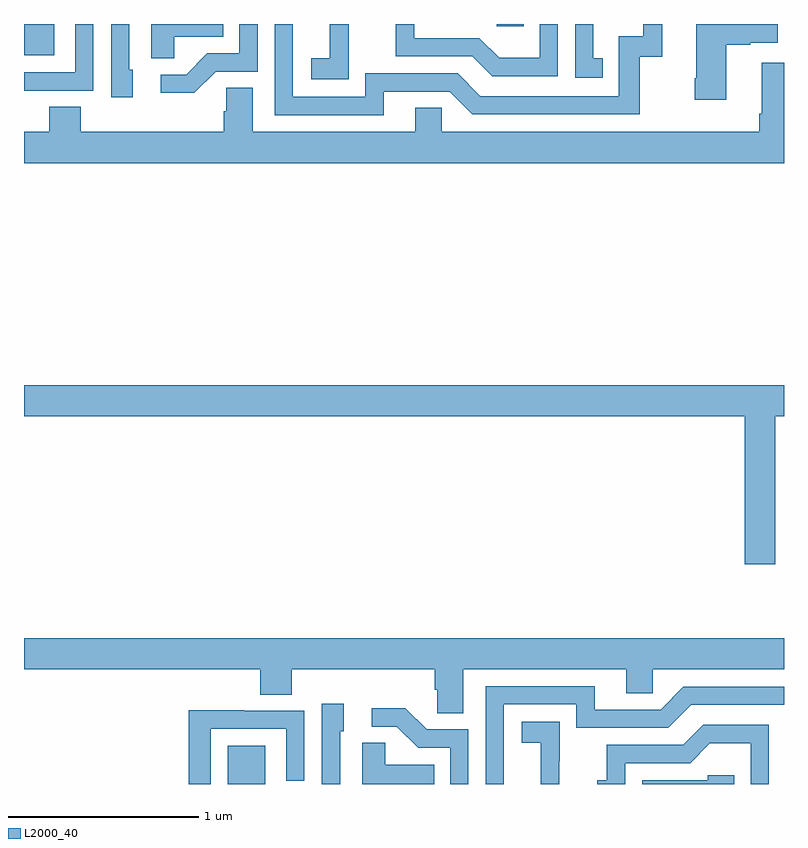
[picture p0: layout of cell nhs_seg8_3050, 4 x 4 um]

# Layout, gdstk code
import gdstk
lib = gdstk.Library(unit=1e-6, precision=1e-09)
def R(c, l, rs):  # rectangles x0, y0, x1, y1
    for r in rs: c.add(gdstk.rectangle(r[:2], r[2:], *l))
def P(c, l, *ps):  # polygons
    for p in ps: c.add(gdstk.Polygon(p, *l))
L2000_40 = (2000, 40)

nhs_seg8_3050 = lib.new_cell('nhs_seg8_3050')
R(nhs_seg8_3050, L2000_40, [(302.072,1111.9,302.269,1112.101), (301,1115.735,301.159,1115.9), (303.489,1115.889,303.629,1115.9)])
P(nhs_seg8_3050, L2000_40, [(302.01,1115.649),(302.229,1115.649),(302.229,1115.9),(302.133,1115.9),(302.133,1115.745),(301.964,1115.745),(301.853,1115.634),(301.719,1115.634),(301.719,1115.537),(301.897,1115.537)],
  [(302.709,1115.815),(302.708,1115.815),(302.708,1115.9),(302.609,1115.9),(302.609,1115.719),(302.511,1115.719),(302.511,1115.609),(302.709,1115.609)],
  [(302.893,1115.544),(303.24,1115.544),(303.36,1115.424),(304.24,1115.424),(304.24,1115.727),(304.358,1115.727),(304.358,1115.9),(304.26,1115.9),(304.26,1115.835),(304.131,1115.835),(304.131,1115.52),(303.402,1115.52),(303.282,1115.64),(302.796,1115.64),(302.796,1115.517),(302.415,1115.517),(302.415,1115.9),(302.319,1115.9),(302.319,1115.421),(302.893,1115.421)],
  [(301.573,1115.658),(301.554,1115.658),(301.554,1115.9),(301.458,1115.9),(301.458,1115.514),(301.573,1115.514)],
  [(303.81,1115.9),(303.714,1115.9),(303.714,1115.722),(303.5,1115.722),(303.396,1115.826),(303.054,1115.826),(303.054,1115.9),(302.956,1115.9),(302.956,1115.73),(303.359,1115.73),(303.464,1115.625),(303.81,1115.625)],
  [(304.046,1115.721),(303.997,1115.721),(303.997,1115.9),(303.9,1115.9),(303.9,1115.616),(304.046,1115.616)],
  [(304.696,1115.791),(304.823,1115.791),(304.823,1115.801),(304.966,1115.801),(304.966,1115.9),(304.538,1115.9),(304.538,1115.614),(304.531,1115.614),(304.531,1115.502),(304.696,1115.502)],
  [(301.791,1115.834),(302.048,1115.834),(302.048,1115.9),(301.67,1115.9),(301.67,1115.719),(301.791,1115.719)],
  [(301.049,1115.55),(301.365,1115.55),(301.365,1115.9),(301.269,1115.9),(301.269,1115.646),(301,1115.646),(301,1115.549),(301.049,1115.549)],
  [(305,1115.695),(304.883,1115.695),(304.883,1115.428),(304.871,1115.428),(304.871,1115.332),(303.198,1115.332),(303.198,1115.459),(303.059,1115.459),(303.059,1115.332),(302.203,1115.332),(302.203,1115.564),(302.064,1115.564),(302.064,1115.441),(302.051,1115.441),(302.051,1115.332),(301.298,1115.332),(301.298,1115.465),(301.133,1115.465),(301.133,1115.332),(301,1115.332),(301,1115.168),(305,1115.168)],
  [(304.953,1113.836),(305,1113.836),(305,1114),(301,1114),(301,1113.836),(304.793,1113.836),(304.793,1113.057),(304.953,1113.057)],
  [(303.313,1112.504),(304.169,1112.504),(304.169,1112.377),(304.308,1112.377),(304.308,1112.504),(305,1112.504),(305,1112.668),(301,1112.668),(301,1112.504),(302.243,1112.504),(302.243,1112.371),(302.408,1112.371),(302.408,1112.504),(303.161,1112.504),(303.161,1112.395),(303.174,1112.395),(303.174,1112.272),(303.313,1112.272)],
  [(303.525,1112.319),(303.906,1112.319),(303.906,1112.196),(304.392,1112.196),(304.512,1112.316),(305,1112.316),(305,1112.412),(304.47,1112.412),(304.35,1112.292),(304.003,1112.292),(304.003,1112.415),(303.429,1112.415),(303.429,1111.9),(303.525,1111.9)],
  [(302.664,1112.178),(302.683,1112.178),(302.683,1112.323),(302.568,1112.323),(302.568,1111.9),(302.664,1111.9)],
  [(303.339,1112.187),(303.12,1112.187),(303.007,1112.3),(302.829,1112.3),(302.829,1112.202),(302.963,1112.202),(303.074,1112.091),(303.243,1112.091),(303.243,1111.9),(303.339,1111.9)],
  [(301.983,1112.19),(302.379,1112.19),(302.379,1111.917),(302.475,1111.917),(302.475,1112.286),(302.159,1112.286),(302.159,1112.288),(301.867,1112.288),(301.867,1111.9),(301.983,1111.9)],
  [(303.818,1112.021),(303.819,1112.021),(303.819,1112.227),(303.621,1112.227),(303.621,1112.117),(303.719,1112.117),(303.719,1111.9),(303.818,1111.9)],
  [(304.164,1112.01),(304.506,1112.01),(304.61,1112.114),(304.824,1112.114),(304.824,1111.9),(304.92,1111.9),(304.92,1112.211),(304.574,1112.211),(304.469,1112.106),(304.066,1112.106),(304.066,1111.921),(304.017,1111.921),(304.017,1111.9),(304.164,1111.9)],
  [(303.158,1112.002),(302.901,1112.002),(302.901,1112.117),(302.78,1112.117),(302.78,1111.9),(303.158,1111.9)],
  [(304.739,1111.947),(304.599,1111.947),(304.599,1111.92),(304.254,1111.92),(304.254,1111.9),(304.739,1111.9)])

lib.write_gds('nhs_seg8_3050.gds')
